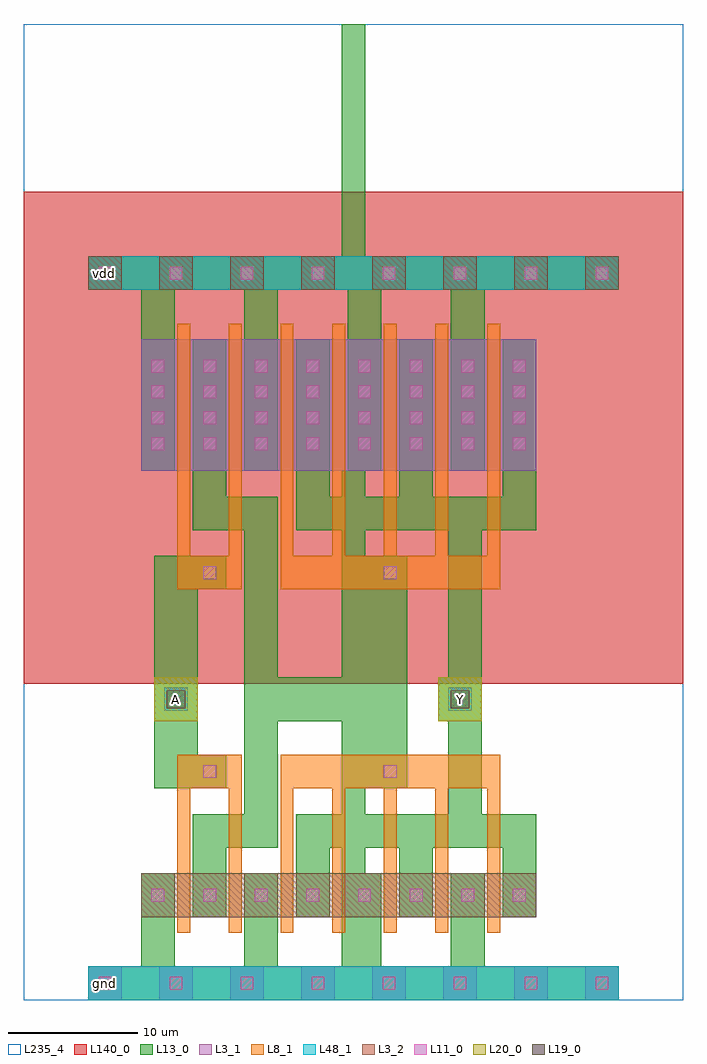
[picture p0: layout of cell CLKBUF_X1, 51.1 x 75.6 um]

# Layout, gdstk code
import gdstk
lib = gdstk.Library(unit=1e-6, precision=1e-09)
def R(c, l, rs):  # rectangles x0, y0, x1, y1
    for r in rs: c.add(gdstk.rectangle(r[:2], r[2:], *l))
def A(c, l, x, y, w, h, nx, ny, dx, dy):  # array of equal rectangles
    R(c, l, [(x+i*dx, y+j*dy, x+i*dx+w, y+j*dy+h) for i in range(nx) for j in range(ny)])
def P(c, l, *ps):  # polygons
    for p in ps: c.add(gdstk.Polygon(p, *l))
L3_1 = (3, 1)
L3_2 = (3, 2)
L8_1 = (8, 1)
L11_0 = (11, 0)
L13_0 = (13, 0)
L19_0 = (19, 0)
L20_0 = (20, 0)
L48_1 = (48, 1)
L140_0 = (140, 0)
L235_4 = (235, 4)

clkbuf_x1 = lib.new_cell('CLKBUF_X1')
A(clkbuf_x1, L3_1, 5, 0, 2.6, 2.6, 8, 1, 5.5, 0)
R(clkbuf_x1, L3_1, [(9.1,41,39.7,51.2)])
A(clkbuf_x1, L3_2, 5, 55, 2.6, 2.6, 8, 1, 5.5, 0)
R(clkbuf_x1, L3_2, [(9.1,6.4,39.7,9.8)])
P(clkbuf_x1, L8_1, [(11.9,5.2),(11.9,19),(16.9,19),(16.9,5.2),(15.9,5.2),(15.9,16.4),(12.9,16.4),(12.9,5.2)],
  [(19.9,5.2),(19.9,19),(36.9,19),(36.9,5.2),(35.9,5.2),(35.9,16.4),(32.9,16.4),(32.9,5.2),(31.9,5.2),(31.9,16.4),(28.9,16.4),(28.9,5.2),(27.9,5.2),(27.9,16.4),(24.9,16.4),(24.9,5.2),(23.9,5.2),(23.9,16.4),(20.9,16.4),(20.9,5.2)],
  [(11.9,31.8),(11.9,52.4),(12.9,52.4),(12.9,34.4),(15.9,34.4),(15.9,52.4),(16.9,52.4),(16.9,31.8)],
  [(19.9,31.8),(19.9,52.4),(20.9,52.4),(20.9,34.4),(23.9,34.4),(23.9,52.4),(24.9,52.4),(24.9,34.4),(27.9,34.4),(27.9,52.4),(28.9,52.4),(28.9,34.4),(31.9,34.4),(31.9,52.4),(32.9,52.4),(32.9,34.4),(35.9,34.4),(35.9,52.4),(36.9,52.4),(36.9,31.8)])
A(clkbuf_x1, L11_0, 5.8, 0.8, 1, 1, 8, 2, 5.5, 55)
A(clkbuf_x1, L11_0, 9.9, 7.6, 1, 1, 3, 2, 4, 35)
A(clkbuf_x1, L11_0, 17.9, 7.6, 1, 1, 6, 2, 4, 35)
A(clkbuf_x1, L11_0, 9.9, 44.6, 1, 1, 3, 3, 4, 2)
A(clkbuf_x1, L11_0, 17.9, 44.6, 1, 1, 6, 3, 4, 2)
R(clkbuf_x1, L11_0, [(13.9,17.2,14.9,18.2), (27.9,17.2,28.9,18.2), (27.9,17.2,28.9,18.2), (13.9,32.6,14.9,33.6), (27.9,32.6,28.9,33.6)])
P(clkbuf_x1, L13_0, [(10.1,16.4),(10.1,34.4),(15.7,34.4),(15.7,31.8),(13.5,31.8),(13.5,19),(15.7,19),(15.7,16.4)],
  [(5,0),(5,2.6),(9.1,2.6),(9.1,9.8),(11.7,9.8),(11.7,2.6),(17.1,2.6),(17.1,9.8),(19.7,9.8),(19.7,2.6),(24.65,2.6),(24.65,11.8),(23.7,11.8),(23.7,6.4),(21.1,6.4),(21.1,14.4),(24.65,14.4),(24.65,21.6),(19.7,21.6),(19.7,11.8),(15.7,11.8),(15.7,6.4),(13.1,6.4),(13.1,14.4),(17.1,14.4),(17.1,36.4),(13.1,36.4),(13.1,51.2),(15.7,51.2),(15.7,39),(19.7,39),(19.7,25),(24.65,25),(24.65,36.4),(26.45,36.4),(26.45,34.4),(29.7,34.4),(29.7,16.4),(26.45,16.4),(26.45,14.4),(32.9,14.4),(32.9,21.6),(32.1,21.6),(32.1,25),(32.9,25),(32.9,36.4),(21.1,36.4),(21.1,51.2),(23.7,51.2),(23.7,39),(24.65,39),(24.65,41),(25.1,41),(25.1,55),(19.7,55),(19.7,41),(17.1,41),(17.1,55),(11.7,55),(11.7,41),(9.1,41),(9.1,55),(5,55),(5,57.6),(24.65,57.6),(24.65,75.6),(26.45,75.6),(26.45,57.6),(46.1,57.6),(46.1,55),(35.7,55),(35.7,41),(33.1,41),(33.1,55),(27.7,55),(27.7,41),(26.45,41),(26.45,39),(29.1,39),(29.1,51.2),(31.7,51.2),(31.7,39),(37.1,39),(37.1,51.2),(39.7,51.2),(39.7,36.4),(35.5,36.4),(35.5,14.4),(39.7,14.4),(39.7,6.4),(37.1,6.4),(37.1,11.8),(31.7,11.8),(31.7,6.4),(29.1,6.4),(29.1,11.8),(26.45,11.8),(26.45,9.8),(27.7,9.8),(27.7,2.6),(33.1,2.6),(33.1,9.8),(35.7,9.8),(35.7,2.6),(46.1,2.6),(46.1,0)])
R(clkbuf_x1, L19_0, [(11.1,22.6,12.5,24), (33.1,22.6,34.5,24)])
R(clkbuf_x1, L20_0, [(10.1,21.6,13.5,25), (32.1,21.6,35.5,25)])
R(clkbuf_x1, L48_1, [(5,0,46.1,2.6), (10.9,22.4,12.7,24.2), (32.9,22.4,34.7,24.2), (5,55,46.1,57.6)])
R(clkbuf_x1, L140_0, [(0,24.5,51.1,62.6)])
R(clkbuf_x1, L235_4, [(0,0,51.1,75.6)])
clkbuf_x1.add(gdstk.Label('vdd', (6.3,56.3), layer=48, texttype=0))
clkbuf_x1.add(gdstk.Label('A', (11.8,23.3), layer=48, texttype=0))
clkbuf_x1.add(gdstk.Label('gnd', (6.3,1.3), layer=48, texttype=0))
clkbuf_x1.add(gdstk.Label('Y', (33.8,23.3), layer=48, texttype=0))
clkbuf_x1.add(gdstk.Label('A', (11.8,23.3), layer=49, texttype=0))
clkbuf_x1.add(gdstk.Label('Y', (33.8,23.3), layer=49, texttype=0))

lib.write_gds('CLKBUF_X1.gds')
